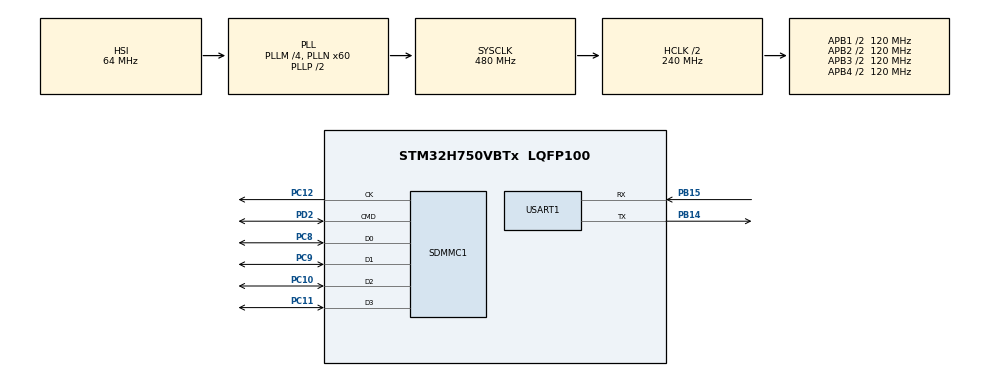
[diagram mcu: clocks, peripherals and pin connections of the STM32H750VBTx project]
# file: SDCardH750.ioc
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CORTEX_M7.default_mode_Activation=1
Mcu.Family=STM32H7
Mcu.Name=STM32H750VBTx
Mcu.Package=LQFP100
NVIC.PriorityGroup=NVIC_PRIORITYGROUP_4
PA13\ (JTMS/SWDIO).Mode=Serial_Wire
PA13\ (JTMS/SWDIO).Signal=DEBUG_JTMS-SWDIO
PA14\ (JTCK/SWCLK).Mode=Serial_Wire
PA14\ (JTCK/SWCLK).Signal=DEBUG_JTCK-SWCLK
PB14.Mode=Asynchronous
PB14.Signal=USART1_TX
PB15.Mode=Asynchronous
PB15.Signal=USART1_RX
PC10.Mode=SD_4_bits_Wide_bus
PC10.Signal=SDMMC1_D2
PC11.Mode=SD_4_bits_Wide_bus
PC11.Signal=SDMMC1_D3
PC12.Mode=SD_4_bits_Wide_bus
PC12.Signal=SDMMC1_CK
PC14-OSC32_IN\ (OSC32_IN).Mode=LSE-External-Oscillator
PC14-OSC32_IN\ (OSC32_IN).Signal=RCC_OSC32_IN
PC15-OSC32_OUT\ (OSC32_OUT).Mode=LSE-External-Oscillator
PC15-OSC32_OUT\ (OSC32_OUT).Signal=RCC_OSC32_OUT
PC8.Mode=SD_4_bits_Wide_bus
PC8.Signal=SDMMC1_D0
PC9.Mode=SD_4_bits_Wide_bus
PC9.Signal=SDMMC1_D1
PD2.Mode=SD_4_bits_Wide_bus
PD2.Signal=SDMMC1_CMD
PH0-OSC_IN\ (PH0).Mode=HSE-External-Oscillator
PH0-OSC_IN\ (PH0).Signal=RCC_OSC_IN
PH1-OSC_OUT\ (PH1).Mode=HSE-External-Oscillator
PH1-OSC_OUT\ (PH1).Signal=RCC_OSC_OUT
ProjectManager.HeapSize=0x200
ProjectManager.StackSize=0x400
ProjectManager.TargetToolchain=MDK-ARM V5.32
RCC.ADCFreq_Value=129000000
RCC.APB1Freq_Value=120000000
RCC.APB2Freq_Value=120000000
RCC.APB3Freq_Value=120000000
RCC.APB4Freq_Value=120000000
RCC.CortexFreq_Value=480000000
RCC.D1PPRE=RCC_APB3_DIV2
RCC.D2PPRE1=RCC_APB1_DIV2
RCC.D2PPRE2=RCC_APB2_DIV2
RCC.D3PPRE=RCC_APB4_DIV2
RCC.DIVM1=4
RCC.DIVN1=60
RCC.DIVQ1=4
RCC.HCLKFreq_Value=240000000
RCC.HPRE=RCC_HCLK_DIV2
RCC.PLL2FRACN=0
RCC.PLL3FRACN=0
RCC.PLLFRACN=0
RCC.SYSCLKFreq_VALUE=480000000
RCC.SYSCLKSource=RCC_SYSCLKSOURCE_PLLCLK
RCC.USBFreq_Value=240000000
SDMMC1.ClockDiv=6
USART1.VirtualMode-Asynchronous=VM_ASYNC
VP_FATFS_VS_SDIO.Mode=SDIO
VP_MEMORYMAP_VS_MEMORYMAP.Mode=CurAppReg
board=custom

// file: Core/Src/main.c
/* USER CODE BEGIN Header */
/**
  ******************************************************************************
  * @file           : main.c
  * @brief          : Main program body
  ******************************************************************************
  * @attention
  *
  * Copyright (c) 2025 STMicroelectronics.
  * All rights reserved.
  *
  * This software is licensed under terms that can be found in the LICENSE file
  * in the root directory of this software component.
  * If no LICENSE file comes with this software, it is provided AS-IS.
  *
  ******************************************************************************
  */
/* USER CODE END Header */
#include "main.h"
#include "fatfs.h"
#include "sdmmc.h"
#include "usart.h"
#include "gpio.h"

/* USER CODE BEGIN Includes */

#include "stdio.h"

/* USER CODE END Includes */

/* USER CODE BEGIN PV */

//??ff.c?????????????
extern FATFS SDFatFS;    /* File system object for SD logical drive */
extern FIL SDFile;       /* File object for SD */
extern char SDPath[4];   /* SD logical drive path */

/* USER CODE END PV */

void SystemClock_Config(void);
static void MPU_Config(void);

int main(void)
{

  /* MPU Configuration--------------------------------------------------------*/
  MPU_Config();

  /* MCU Configuration--------------------------------------------------------*/

  /* Reset of all peripherals, Initializes the Flash interface and the Systick. */
  HAL_Init();

  /* Configure the system clock */
  SystemClock_Config();

  /* Initialize all configured peripherals */
  MX_GPIO_Init();
	MX_USART1_UART_Init();
  MX_SDMMC1_SD_Init();
  MX_FATFS_Init();

  /* USER CODE BEGIN 2 */

  printf("SD Card Test\n");

  //??????
  FRESULT res;
  res = f_mount(&SDFatFS, (TCHAR const*)SDPath, 0);
  if (res != FR_OK) printf("SD card mount failed\n");
  else  printf("SD card mount success\n");
  char buffer[100];

  //open file
  printf("Opening file test.txt\n");
  res = f_open(&SDFile, "test.txt",FA_READ);
  if (res != FR_OK) printf("Error opening file\n");
  else  printf("File opened successfully\n");

  //read file
  printf("Reading file\n");
  UINT bytesRead;
  res = f_read(&SDFile, buffer, sizeof(buffer)-1, &bytesRead);
  if (res != FR_OK) printf("Error reading file\n");
  else
  {
    buffer[bytesRead] = '\0'; // Null-terminate the string
    printf("Read %u bytes: %s\n", bytesRead, buffer);
  }
  //close file
  f_close(&SDFile);
  printf("File closed\n");

  //create file
  printf("Creating file fwrite1.txt\n");
  res = f_open(&SDFile, "fwrite1.txt",FA_WRITE | FA_CREATE_ALWAYS);
  if (res != FR_OK) printf("Error creating file\n");
  else
  {
    printf("File created successfully\n");
    //write file
    char* data = "Hello world!\n";
    UINT bytesWritten;
    res = f_write(&SDFile, data, strlen(data), &bytesWritten);
    if (res != FR_OK) printf("Error writing file\n");
    else  printf("Wrote %u bytes\n", bytesWritten);
  }
  f_close(&SDFile);
  printf("File closed\n");

  /* USER CODE END 2 */

  /* Infinite loop */
  while (1)
  {

  }
}

void SystemClock_Config(void)
{
  RCC_OscInitTypeDef RCC_OscInitStruct = {0};
  RCC_ClkInitTypeDef RCC_ClkInitStruct = {0};

  /** Supply configuration update enable
  */
  HAL_PWREx_ConfigSupply(PWR_LDO_SUPPLY);

  /** Configure the main internal regulator output voltage
  */
  __HAL_PWR_VOLTAGESCALING_CONFIG(PWR_REGULATOR_VOLTAGE_SCALE0);

  while(!__HAL_PWR_GET_FLAG(PWR_FLAG_VOSRDY)) {}

  /** Initializes the RCC Oscillators according to the specified parameters
  * in the RCC_OscInitTypeDef structure.
  */
  RCC_OscInitStruct.OscillatorType = RCC_OSCILLATORTYPE_HSI;
  RCC_OscInitStruct.HSIState = RCC_HSI_DIV1;
  RCC_OscInitStruct.HSICalibrationValue = RCC_HSICALIBRATION_DEFAULT;
  RCC_OscInitStruct.PLL.PLLState = RCC_PLL_ON;
  RCC_OscInitStruct.PLL.PLLSource = RCC_PLLSOURCE_HSI;
  RCC_OscInitStruct.PLL.PLLM = 4;
  RCC_OscInitStruct.PLL.PLLN = 60;
  RCC_OscInitStruct.PLL.PLLP = 2;
  RCC_OscInitStruct.PLL.PLLQ = 4;
  RCC_OscInitStruct.PLL.PLLR = 2;
  RCC_OscInitStruct.PLL.PLLRGE = RCC_PLL1VCIRANGE_3;
  RCC_OscInitStruct.PLL.PLLVCOSEL = RCC_PLL1VCOWIDE;
  RCC_OscInitStruct.PLL.PLLFRACN = 0;
  if (HAL_RCC_OscConfig(&RCC_OscInitStruct) != HAL_OK)
  {
    Error_Handler();
  }

  /** Initializes the CPU, AHB and APB buses clocks
  */
  RCC_ClkInitStruct.ClockType = RCC_CLOCKTYPE_HCLK|RCC_CLOCKTYPE_SYSCLK
                              |RCC_CLOCKTYPE_PCLK1|RCC_CLOCKTYPE_PCLK2
                              |RCC_CLOCKTYPE_D3PCLK1|RCC_CLOCKTYPE_D1PCLK1;
  RCC_ClkInitStruct.SYSCLKSource = RCC_SYSCLKSOURCE_PLLCLK;
  RCC_ClkInitStruct.SYSCLKDivider = RCC_SYSCLK_DIV1;
  RCC_ClkInitStruct.AHBCLKDivider = RCC_HCLK_DIV2;
  RCC_ClkInitStruct.APB3CLKDivider = RCC_APB3_DIV2;
  RCC_ClkInitStruct.APB1CLKDivider = RCC_APB1_DIV2;
  RCC_ClkInitStruct.APB2CLKDivider = RCC_APB2_DIV2;
  RCC_ClkInitStruct.APB4CLKDivider = RCC_APB4_DIV2;

  if (HAL_RCC_ClockConfig(&RCC_ClkInitStruct, FLASH_LATENCY_4) != HAL_OK)
  {
    Error_Handler();
  }
}

 /* MPU Configuration */

void MPU_Config(void)
{
  MPU_Region_InitTypeDef MPU_InitStruct = {0};

  /* Disables the MPU */
  HAL_MPU_Disable();

  /** Initializes and configures the Region and the memory to be protected
  */
  MPU_InitStruct.Enable = MPU_REGION_ENABLE;
  MPU_InitStruct.Number = MPU_REGION_NUMBER0;
  MPU_InitStruct.BaseAddress = 0x0;
  MPU_InitStruct.Size = MPU_REGION_SIZE_4GB;
  MPU_InitStruct.SubRegionDisable = 0x87;
  MPU_InitStruct.TypeExtField = MPU_TEX_LEVEL0;
  MPU_InitStruct.AccessPermission = MPU_REGION_NO_ACCESS;
  MPU_InitStruct.DisableExec = MPU_INSTRUCTION_ACCESS_DISABLE;
  MPU_InitStruct.IsShareable = MPU_ACCESS_SHAREABLE;
  MPU_InitStruct.IsCacheable = MPU_ACCESS_NOT_CACHEABLE;
  MPU_InitStruct.IsBufferable = MPU_ACCESS_NOT_BUFFERABLE;

  HAL_MPU_ConfigRegion(&MPU_InitStruct);
  /* Enables the MPU */
  HAL_MPU_Enable(MPU_PRIVILEGED_DEFAULT);

}

void Error_Handler(void)
{
  __disable_irq();
  while (1)
  {
  }
}
